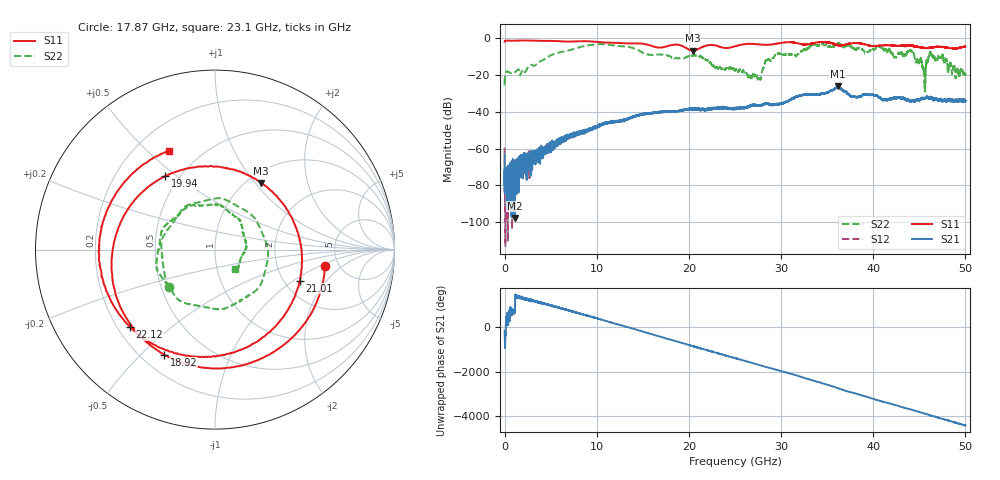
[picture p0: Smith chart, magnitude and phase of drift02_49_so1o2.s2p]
!Created with skrf (http://scikit-rf.org).
# Hz S RI R 50.0
!freq ReS11 ImS11 ReS21 ImS21 ReS12 ImS12 ReS22 ImS22
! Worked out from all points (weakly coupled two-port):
!   10001 points, 300 kHz to 50 GHz, reference 50 ohm
!   highest |S21| = -26.25 dB at 36.13 GHz (marker M1); lowest = -97.6 dB at 1.075 GHz (marker M2)
!   lowest |S11| = -6.9 dB at 20.43 GHz (marker M3), VSWR 2.65, Z = 57.8 + j53.8 ohm
!   |S11| at or under -10 dB: nowhere
!   |S22| runs from -29.2 to -2.6 dB; largest |S21 - S12| = 0.0052
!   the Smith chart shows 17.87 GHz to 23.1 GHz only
!   S11 on the Smith chart (normalised r, x): 17.87 GHz: 3.89, -1.19; 18.92 GHz: 0.29, -0.59; 19.94 GHz: 0.42, +0.45; 21.01 GHz: 2.42, -1.12; 22.12 GHz: 0.25, -0.36; 23.1 GHz: 0.34, +0.58
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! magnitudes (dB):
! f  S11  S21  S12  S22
! 300 kHz  -2.1  -63.3  -59.4  -21.8
! 255.3 MHz  -1.4  -70.7  -77.6  -18.2
! 1.075 GHz  -1.5  -97.6  -78.0  -18.8
! 8.335 GHz  -1.7  -51.5  -50.9  -4.7
! 16.67 GHz  -5.2  -40.3  -40.3  -9.0
! 17.87 GHz  -4.1  -40.0  -40.0  -9.7
! 18.92 GHz  -3.7  -39.7  -39.5  -10.8
! 19.94 GHz  -6.1  -38.7  -38.6  -9.8
! 20.43 GHz  -6.9  -38.4  -38.2  -9.8
! 21.01 GHz  -6.0  -38.6  -38.8  -9.4
! 22.12 GHz  -3.9  -38.9  -38.6  -12.7
! 23.1 GHz  -4.3  -37.8  -37.8  -16.1
! 25 GHz  -4.5  -38.2  -38.3  -17.7
! 27.63 GHz  -3.5  -36.7  -36.8  -21.5
! 29.54 GHz  -3.0  -36.1  -36.0  -8.8
! 33.34 GHz  -3.1  -30.7  -30.6  -3.8
! 36.13 GHz  -3.9  -26.3  -26.8  -3.1
! 41.67 GHz  -3.9  -33.4  -33.6  -6.0
! 44.15 GHz  -4.2  -34.3  -34.3  -7.3
! 45.5 GHz  -5.3  -32.6  -32.8  -18.1
! 46.27 GHz  -5.2  -32.6  -32.2  -8.9
! 50 GHz  -4.7  -34.2  -34.3  -19.8
